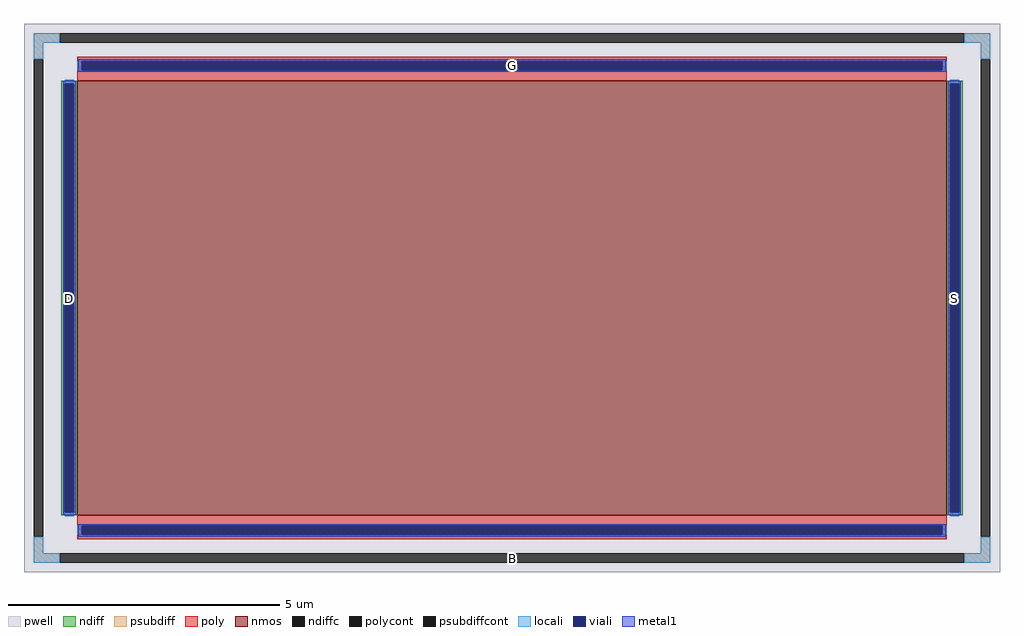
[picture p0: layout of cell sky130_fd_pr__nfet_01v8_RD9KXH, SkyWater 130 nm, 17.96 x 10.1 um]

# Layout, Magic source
magic
tech sky130A
magscale 1 2
<< pwell >>
rect -1796 -1010 1796 1010
<< nmos >>
rect -1600 -800 1600 800
<< ndiff >>
rect -1658 788 -1600 800
rect -1658 -788 -1646 788
rect -1612 -788 -1600 788
rect -1658 -800 -1600 -788
rect 1600 788 1658 800
rect 1600 -788 1612 788
rect 1646 -788 1658 788
rect 1600 -800 1658 -788
<< ndiffc >>
rect -1646 -788 -1612 788
rect 1612 -788 1646 788
<< psubdiff >>
rect -1760 940 -1664 974
rect 1664 940 1760 974
rect -1760 878 -1726 940
rect 1726 878 1760 940
rect -1760 -940 -1726 -878
rect 1726 -940 1760 -878
rect -1760 -974 -1664 -940
rect 1664 -974 1760 -940
<< psubdiffcont >>
rect -1664 940 1664 974
rect -1760 -878 -1726 878
rect 1726 -878 1760 878
rect -1664 -974 1664 -940
<< poly >>
rect -1600 872 1600 888
rect -1600 838 -1584 872
rect 1584 838 1600 872
rect -1600 800 1600 838
rect -1600 -838 1600 -800
rect -1600 -872 -1584 -838
rect 1584 -872 1600 -838
rect -1600 -888 1600 -872
<< polycont >>
rect -1584 838 1584 872
rect -1584 -872 1584 -838
<< locali >>
rect -1760 940 -1664 974
rect 1664 940 1760 974
rect -1760 878 -1726 940
rect 1726 878 1760 940
rect -1600 838 -1584 872
rect 1584 838 1600 872
rect -1646 788 -1612 804
rect -1646 -804 -1612 -788
rect 1612 788 1646 804
rect 1612 -804 1646 -788
rect -1600 -872 -1584 -838
rect 1584 -872 1600 -838
rect -1760 -940 -1726 -878
rect 1726 -940 1760 -878
rect -1760 -974 -1664 -940
rect 1664 -974 1760 -940
<< viali >>
rect -1584 838 1584 872
rect -1646 -788 -1612 788
rect 1612 -788 1646 788
rect -1584 -872 1584 -838
<< metal1 >>
rect -1596 872 1596 878
rect -1596 838 -1584 872
rect 1584 838 1596 872
rect -1596 832 1596 838
rect -1652 788 -1606 800
rect -1652 -788 -1646 788
rect -1612 -788 -1606 788
rect -1652 -800 -1606 -788
rect 1606 788 1652 800
rect 1606 -788 1612 788
rect 1646 -788 1652 788
rect 1606 -800 1652 -788
rect -1596 -838 1596 -832
rect -1596 -872 -1584 -838
rect 1584 -872 1596 -838
rect -1596 -878 1596 -872
<< labels >>
rlabel psubdiffcont 0 -957 0 -957 0 B
port 5 nsew
rlabel ndiffc -1629 0 -1629 0 0 D
port 6 nsew
rlabel ndiffc 1629 0 1629 0 0 S
port 7 nsew
rlabel polycont 0 855 0 855 0 G
port 8 nsew
<< properties >>
string FIXED_BBOX -1743 -957 1743 957
string gencell sky130_fd_pr__nfet_01v8
string library sky130
string parameters w 8.0 l 16.0 m 1 nf 1 diffcov 100 polycov 100 guard 1 glc 1 grc 1 gtc 1 gbc 1 tbcov 100 rlcov 100 topc 1 botc 1 poverlap 0 doverlap 1 lmin 0.15 wmin 0.42 class mosfet compatible {sky130_fd_pr__nfet_01v8 sky130_fd_pr__nfet_01v8_lvt  sky130_fd_bs_flash__special_sonosfet_star  sky130_fd_pr__nfet_g5v0d10v5 sky130_fd_pr__nfet_05v0_nvt  sky130_fd_pr__nfet_03v3_nvt} full_metal 1 conn_gates 0 viasrc 100 viadrn 100 viagate 100 viagb 0 viagr 0 viagl 0 viagt 0 doports 1 ad 2.32 as 2.32 pd 16.58 ps 16.58 nrd 0.03625 nrs 0.03625 sa 0 sb 0 sd 0 mult 1
<< end >>
